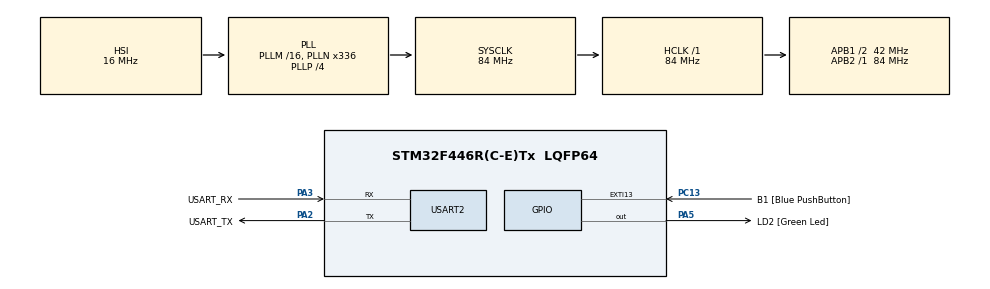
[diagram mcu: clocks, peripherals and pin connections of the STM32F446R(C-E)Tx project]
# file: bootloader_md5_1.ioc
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Mcu.Family=STM32F4
Mcu.Name=STM32F446R(C-E)Tx
Mcu.Package=LQFP64
NVIC.PriorityGroup=NVIC_PRIORITYGROUP_0
PA13.GPIO_Label=TMS
PA13.Mode=Serial_Wire
PA13.Signal=SYS_JTMS-SWDIO
PA14.GPIO_Label=TCK
PA14.Mode=Serial_Wire
PA14.Signal=SYS_JTCK-SWCLK
PA2.GPIO_Label=USART_TX
PA2.Mode=Asynchronous
PA2.Signal=USART2_TX
PA3.GPIO_Label=USART_RX
PA3.Mode=Asynchronous
PA3.Signal=USART2_RX
PA5.GPIO_Label=LD2 [Green Led]
PA5.Signal=GPIO_Output
PB3.GPIO_Label=SWO
PB3.Signal=SYS_JTDO-SWO
PC13.GPIO_Label=B1 [Blue PushButton]
PC13.GPIO_ModeDefaultEXTI=GPIO_MODE_IT_FALLING
PC13.Signal=GPXTI13
PC14-OSC32_IN.Mode=LSE-External-Oscillator
PC14-OSC32_IN.Signal=RCC_OSC32_IN
PC15-OSC32_OUT.Mode=LSE-External-Oscillator
PC15-OSC32_OUT.Signal=RCC_OSC32_OUT
PH0-OSC_IN.Mode=HSE-External-Oscillator
PH0-OSC_IN.Signal=RCC_OSC_IN
PH1-OSC_OUT.Mode=HSE-External-Oscillator
PH1-OSC_OUT.Signal=RCC_OSC_OUT
ProjectManager.HeapSize=0x200
ProjectManager.StackSize=0x400
ProjectManager.TargetToolchain=STM32CubeIDE
RCC.48MHZClocksFreq_Value=84000000
RCC.AHBFreq_Value=84000000
RCC.APB1CLKDivider=RCC_HCLK_DIV2
RCC.APB1Freq_Value=42000000
RCC.APB1TimFreq_Value=84000000
RCC.APB2Freq_Value=84000000
RCC.APB2TimFreq_Value=84000000
RCC.CortexFreq_Value=84000000
RCC.FLatency-AdvancedSettings=FLASH_LATENCY_2
RCC.HCLKFreq_Value=84000000
RCC.HSE_VALUE=8000000
RCC.HSI_VALUE=16000000
RCC.PLLN=336
RCC.PLLP=RCC_PLLP_DIV4
RCC.SYSCLKFreq_VALUE=84000000
RCC.SYSCLKSource=RCC_SYSCLKSOURCE_PLLCLK
RCC.USBFreq_Value=168000000
RCC.VCOOutputFreq_Value=336000000
USART2.VirtualMode=VM_ASYNC
board=NUCLEO-F446RE

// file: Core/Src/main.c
/* USER CODE BEGIN Header */
/**
  ******************************************************************************
  * @file           : main.c
  * @brief          : Main program body
  ******************************************************************************
  * @attention
  *
  * Copyright (c) 2026 STMicroelectronics.
  * All rights reserved.
  *
  * This software is licensed under terms that can be found in the LICENSE file
  * in the root directory of this software component.
  * If no LICENSE file comes with this software, it is provided AS-IS.
  *
  ******************************************************************************
  */
/* USER CODE END Header */
#include "main.h"
#include "usart.h"
#include "gpio.h"
#include "bootloader.h"

void SystemClock_Config(void);

/* USER CODE BEGIN 0 */
#define LED_GPIO_PORT   GPIOA
#define LED_PIN         GPIO_PIN_5

#define BLINK_MS_SLOW   (600u)
#define BLINK_MS_FAST   (120u)

static int is_metadata_valid(void)
{
  const FirmwareMetadata_t *meta = (const FirmwareMetadata_t *)BOOTLOADER_METADATA_ADDR;

  if (meta->magic[0] != BOOTLOADER_METADATA_MAGIC_0 ||
      meta->magic[1] != BOOTLOADER_METADATA_MAGIC_1 ||
      meta->magic[2] != BOOTLOADER_METADATA_MAGIC_2 ||
      meta->magic[3] != BOOTLOADER_METADATA_MAGIC_3)
    return 0;
  if (meta->valid != BOOTLOADER_METADATA_VALID)
    return 0;
  return 1;
}
/* USER CODE END 0 */

int main(void)
{

  /* MCU Configuration--------------------------------------------------------*/

  /* Reset of all peripherals, Initializes the Flash interface and the Systick. */
  HAL_Init();

  /* Configure the system clock */
  SystemClock_Config();

  /* Initialize all configured peripherals */
  MX_GPIO_Init();
  MX_USART2_UART_Init();
  /* USER CODE BEGIN 2 */
  uint32_t blink_ms = is_metadata_valid() ? BLINK_MS_FAST : BLINK_MS_SLOW;
  /* USER CODE END 2 */

  /* Infinite loop */
  while (1)
  {
	  HAL_GPIO_TogglePin(LED_GPIO_PORT, LED_PIN);
	     HAL_Delay(blink_ms);
  }
}

void SystemClock_Config(void)
{
  RCC_OscInitTypeDef RCC_OscInitStruct = {0};
  RCC_ClkInitTypeDef RCC_ClkInitStruct = {0};

  /** Configure the main internal regulator output voltage
  */
  __HAL_RCC_PWR_CLK_ENABLE();
  __HAL_PWR_VOLTAGESCALING_CONFIG(PWR_REGULATOR_VOLTAGE_SCALE3);

  /** Initializes the RCC Oscillators according to the specified parameters
  * in the RCC_OscInitTypeDef structure.
  */
  RCC_OscInitStruct.OscillatorType = RCC_OSCILLATORTYPE_HSI;
  RCC_OscInitStruct.HSIState = RCC_HSI_ON;
  RCC_OscInitStruct.HSICalibrationValue = RCC_HSICALIBRATION_DEFAULT;
  RCC_OscInitStruct.PLL.PLLState = RCC_PLL_ON;
  RCC_OscInitStruct.PLL.PLLSource = RCC_PLLSOURCE_HSI;
  RCC_OscInitStruct.PLL.PLLM = 16;
  RCC_OscInitStruct.PLL.PLLN = 336;
  RCC_OscInitStruct.PLL.PLLP = RCC_PLLP_DIV4;
  RCC_OscInitStruct.PLL.PLLQ = 2;
  RCC_OscInitStruct.PLL.PLLR = 2;
  if (HAL_RCC_OscConfig(&RCC_OscInitStruct) != HAL_OK)
  {
    Error_Handler();
  }

  /** Initializes the CPU, AHB and APB buses clocks
  */
  RCC_ClkInitStruct.ClockType = RCC_CLOCKTYPE_HCLK|RCC_CLOCKTYPE_SYSCLK
                              |RCC_CLOCKTYPE_PCLK1|RCC_CLOCKTYPE_PCLK2;
  RCC_ClkInitStruct.SYSCLKSource = RCC_SYSCLKSOURCE_PLLCLK;
  RCC_ClkInitStruct.AHBCLKDivider = RCC_SYSCLK_DIV1;
  RCC_ClkInitStruct.APB1CLKDivider = RCC_HCLK_DIV2;
  RCC_ClkInitStruct.APB2CLKDivider = RCC_HCLK_DIV1;

  if (HAL_RCC_ClockConfig(&RCC_ClkInitStruct, FLASH_LATENCY_2) != HAL_OK)
  {
    Error_Handler();
  }
}

void Error_Handler(void)
{
  __disable_irq();
  while (1)
  {
  }
}
